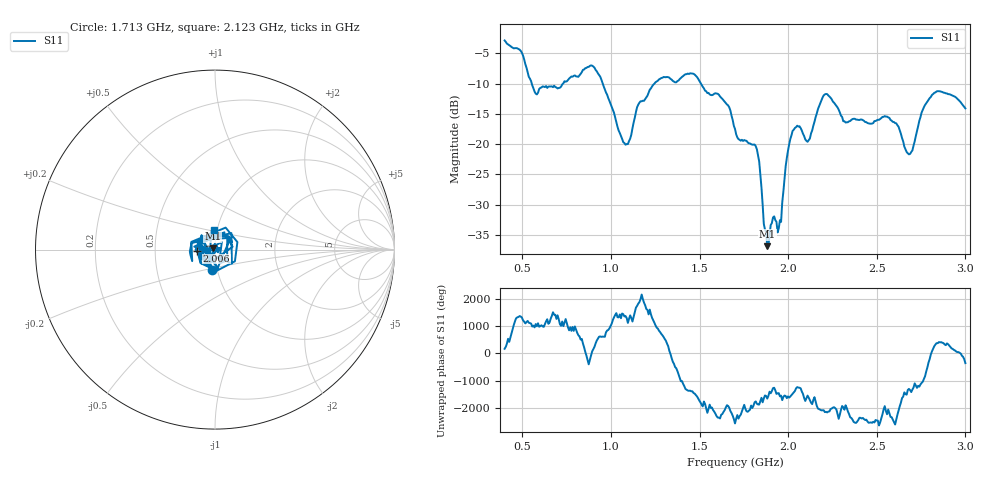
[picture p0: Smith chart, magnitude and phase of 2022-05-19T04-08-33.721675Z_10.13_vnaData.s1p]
!Created with skrf (http://scikit-rf.org).
# Hz S RI R 50.0
!freq ReS11 ImS11
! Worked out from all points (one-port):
!   401 points, 400 MHz to 3 GHz, reference 50 ohm
!   lowest |S11| = -36.8 dB at 1.882 GHz (marker M1), VSWR 1.03, Z = 48.8 + j0.769 ohm
!   |S11| at or under -10 dB: 553.4 MHz to 729.3 MHz (175.9 MHz wide, 27.4 % of centre); 953.8 MHz to 1.245 GHz (291.3 MHz wide, 26.5 % of centre); 1.508 GHz to end of sweep
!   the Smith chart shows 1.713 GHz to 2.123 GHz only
!   S11 on the Smith chart (normalised r, x): 1.713 GHz: 0.95, -0.22; 2.006 GHz: 0.82, -0.01; 2.123 GHz: 0.96, +0.22
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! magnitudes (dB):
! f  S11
! 400 MHz  -2.9
! 491 MHz  -4.6
! 575.5 MHz  -11.6
! 725 MHz  -10.1
! 900.5 MHz  -7.2
! 1.05 GHz  -18.2
! 1.095 GHz  -20.0
! 1.154 GHz  -13.5
! 1.258 GHz  -9.6
! 1.375 GHz  -9.6
! 1.472 GHz  -8.5
! 1.655 GHz  -13.4
! 1.7 GHz  -17.5
! 1.713 GHz  -18.9
! 1.823 GHz  -20.8
! 1.882 GHz  -36.8
! 1.915 GHz  -32.1
! 1.954 GHz  -32.6
! 2.006 GHz  -20.1
! 2.025 GHz  -17.8
! 2.123 GHz  -19.1
! 2.207 GHz  -11.8
! 2.35 GHz  -16.2
! 2.558 GHz  -15.4
! 2.616 GHz  -16.9
! 2.675 GHz  -21.5
! 2.825 GHz  -11.5
! 3 GHz  -14.1
